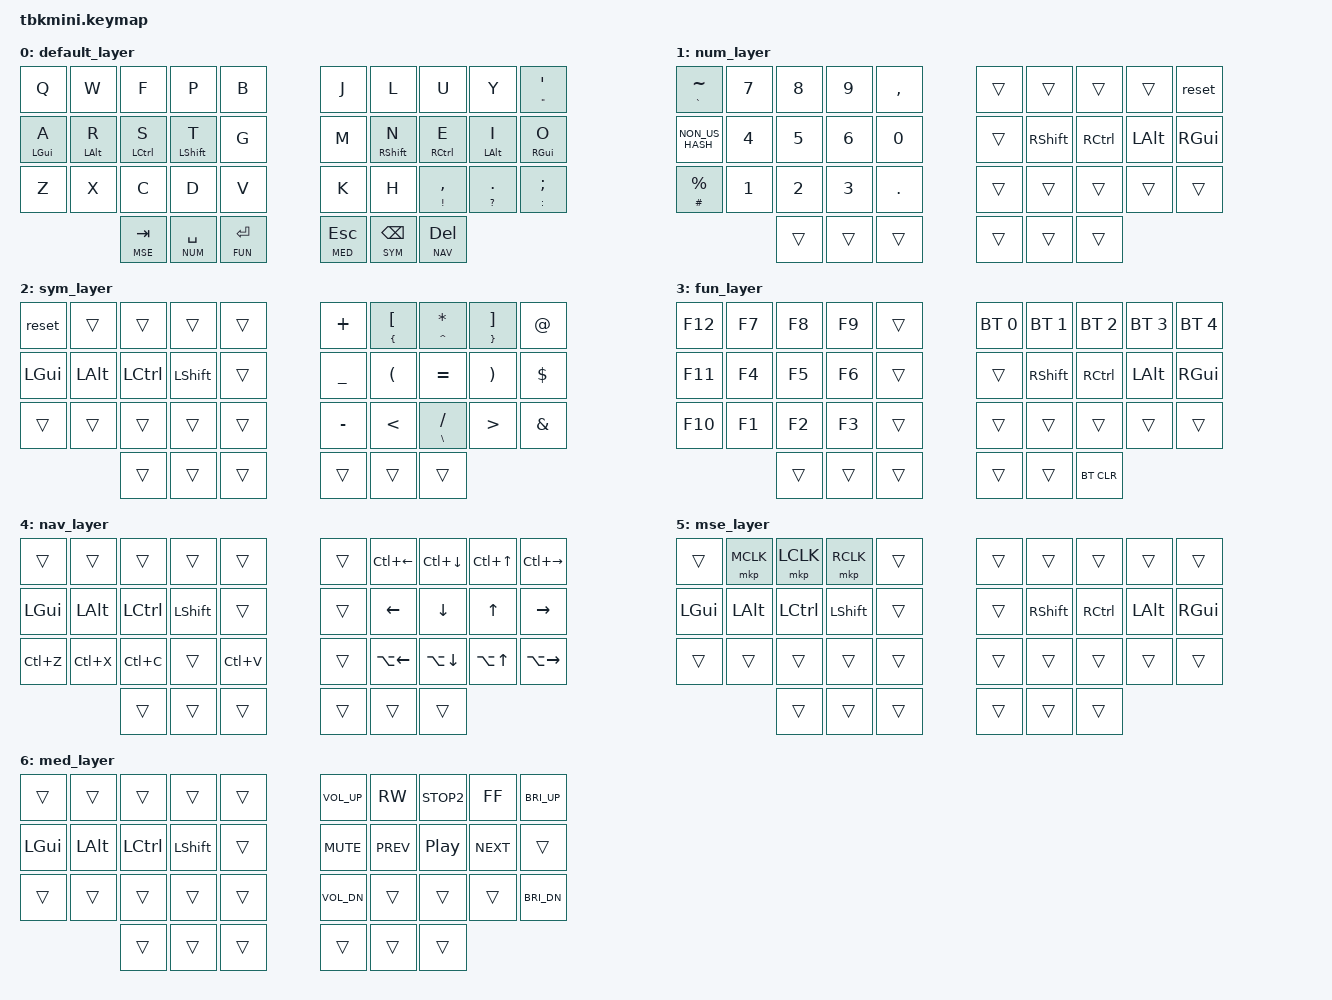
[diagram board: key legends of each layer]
#include <behaviors.dtsi>
#include <dt-bindings/zmk/keys.h>
#include <dt-bindings/zmk/bt.h>
#include <dt-bindings/zmk/mouse.h>

#define DEFAULT 0
#define NUM 1
#define SYM 2
#define FUN 3
#define NAV 4
#define MSE 5
#define MED 6

&lt {
	tapping-term-ms = <300>;
	quick_tap_ms = <200>;
	flavor = "hold-preferred";
	};

/ {
chosen {
	zmk,matrix_transform = &skeletyl_transform;
	};

/* 					       KEY POSITIONS
	| k01  | k02  | k03  | k04  | k05  |                  | k45  | k44  | k43  | k42  | k41  |
	| k11  | k12  | k13  | k14  | k15  |                  | k55  | k54  | k53  | k52  | k51  |
	| k21  | k22  | k23  | k24  | k25  |                  | k65  | k64  | k63  | k62  | k61  |
	              | k33  | k34  | k31  |                  | k71  | k74  | k73  |
*/

combos {
	compatible = "zmk,combos";
	combo_caps {
		timeout-ms = <50>;
		key-positions = <02 03 04>;
		bindings = <&kp CAPS>;
		layers = <DEFAULT>;
		};
	};

behaviors {
	hmi: homerow_mods_index {
		compatible = "zmk,behavior-hold-tap";
		label = "HOMEROW_MODS_INDEX";
		#binding-cells = <2>;
		tapping-term-ms = <180>;
		quick_tap_ms = <0>;
		flavor = "tap-preferred";
		bindings = <&kp>, <&kp>;
		};
	hmr: homerow_mods_ring {
		compatible = "zmk,behavior-hold-tap";
		label = "HOMEROW_MODS_RING";
		#binding-cells = <2>;
		tapping-term-ms = <210>;
		quick_tap_ms = <0>;
		flavor = "tap-preferred";
		bindings = <&kp>, <&kp>;
		};
	};

keymap {
	compatible = "zmk,keymap";

	default_layer {
		bindings = <
		&kp Q       &kp W       &kp F        &kp P        &kp B           &kp J     &kp L        &kp U            &kp Y          &hmr DQT SQT
		&hmr LGUI A &hmr LALT R &hmi LCTRL S &hmi LSHFT T &kp G           &kp M     &hmi RSHFT N &hmi RCTRL E     &hmr LALT I    &hmr RGUI O
		&kp Z       &kp X       &kp C        &kp D        &kp V           &kp K     &kp H        &hmi EXCL COMMA  &hmr QMARK DOT &hmr COLON SEMI
		            &lt MSE TAB   &lt NUM SPACE   &lt FUN RET             &lt MED ESC  &lt SYM BSPC  &lt NAV DEL
		>;
	};
	num_layer {
		bindings = <
		&hmr GRAVE TILDE &kp N7    &kp N8    &kp N9    &kp COMMA        &trans     &trans     &trans    &trans   &reset
		&kp NON_US_HASH  &kp N4    &kp N5    &kp N6    &kp N0           &trans     &kp RSHFT  &kp RCTRL &kp LALT &kp RGUI
		&hmr HASH PRCNT  &kp N1    &kp N2    &kp N3    &kp DOT          &trans     &trans     &trans    &trans   &trans
		                           &trans    &trans    &trans           &trans     &trans     &trans
		>;
	};
	sym_layer {
		bindings = <
		&reset     &trans     &trans     &trans     &trans             &kp PLUS   &hmi LBRC LBKT &hmi CARET STAR &hmr RBRC RBKT &kp AT
		&kp LGUI   &kp LALT   &kp LCTRL  &kp LSHFT  &trans             &kp UNDER  &kp LPAR       &kp EQUAL       &kp RPAR       &kp DLLR
		&trans     &trans     &trans     &trans     &trans             &kp MINUS  &kp LT         &hmi BSLH FSLH  &kp GT         &kp AMPS
		                      &trans     &trans     &trans             &trans     &trans         &trans
		>;
	};
	fun_layer {
		bindings = <
		&kp F12    &kp F7     &kp F8     &kp F9     &trans             &bt BT_SEL 0 &bt BT_SEL 1 &bt BT_SEL 2 &bt BT_SEL 3 &bt BT_SEL 4
		&kp F11    &kp F4     &kp F5     &kp F6     &trans             &trans       &kp RSHFT    &kp RCTRL    &kp LALT     &kp RGUI
		&kp F10    &kp F1     &kp F2     &kp F3     &trans             &trans       &trans       &trans       &trans       &trans
		                      &trans     &trans     &trans             &trans       &trans       &bt BT_CLR
		>;
	};
	nav_layer {
		bindings = <
		&trans     &trans     &trans     &trans     &trans             &trans     &kp LC(LEFT)     &kp LC(DOWN)      &kp LC(UP)      &kp LC(RIGHT)
		&kp LGUI   &kp LALT   &kp LCTRL  &kp LSHFT  &trans             &trans     &kp LEFT         &kp DOWN          &kp UP          &kp RIGHT
		&kp LC(Z)  &kp LC(X)  &kp LC(C)  &trans     &kp LC(V)          &trans     &kp LA(LEFT)     &kp LA(DOWN)      &kp LA(UP)      &kp LA(RIGHT)
		                      &trans     &trans     &trans             &trans     &trans           &trans
		>;
	};
	mse_layer {
		bindings = <
		&trans     &mkp MCLK  &mkp LCLK  &mkp RCLK  &trans             &trans     &trans     &trans     &trans     &trans
		&kp LGUI   &kp LALT   &kp LCTRL  &kp LSHFT  &trans             &trans     &kp RSHFT  &kp RCTRL  &kp LALT   &kp RGUI
		&trans     &trans     &trans     &trans     &trans             &trans     &trans     &trans     &trans     &trans
		                      &trans     &trans     &trans             &trans     &trans     &trans
		>;
	};
	med_layer {
	bindings = <
		&trans     &trans     &trans     &trans     &trans             &kp C_VOL_UP &kp C_RW   &kp K_STOP2 &kp C_FF   &kp C_BRI_UP
		&kp LGUI   &kp LALT   &kp LCTRL  &kp LSHFT  &trans             &kp K_MUTE   &kp C_PREV &kp C_PP    &kp C_NEXT &trans
		&trans     &trans     &trans     &trans     &trans             &kp C_VOL_DN &trans     &trans      &trans     &kp C_BRI_DN
		                      &trans     &trans     &trans             &trans       &trans     &trans
		>;
	};
	};
};
